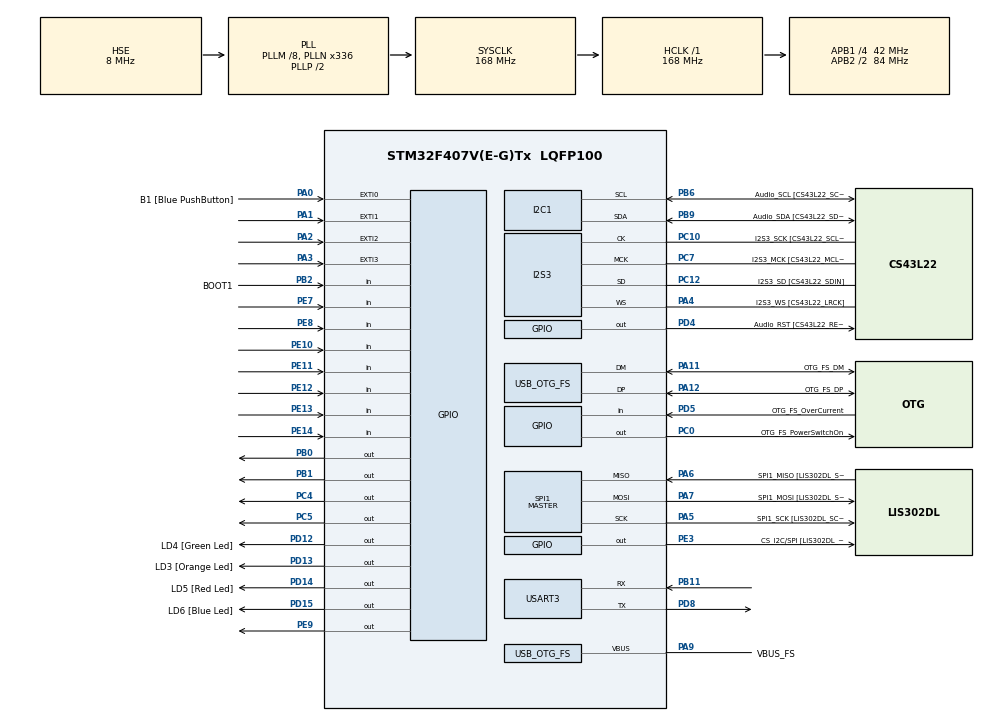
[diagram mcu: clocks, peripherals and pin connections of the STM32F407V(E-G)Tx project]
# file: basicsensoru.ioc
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I2S3.AudioFreq-Half_Duplex_Master=I2S_AUDIOFREQ_96K
I2S3.ErrorAudioFreq=-2.34 %
I2S3.ErrorAudioFreq-Half_Duplex_Master=0.8 %
I2S3.FullDuplexMode=I2S_FULLDUPLEXMODE_DISABLE
I2S3.Instance=SPI$Index
I2S3.RealAudioFreq=93.75 KHz
I2S3.RealAudioFreq-Half_Duplex_Master=96.774 KHz
I2S3.VirtualMode=I2S_MODE_MASTER
Mcu.Family=STM32F4
Mcu.Name=STM32F407V(E-G)Tx
Mcu.Package=LQFP100
NVIC.EXTI1_IRQn=true\:0\:0\:false\:false\:true\:true\:true\:true
NVIC.EXTI2_IRQn=true\:0\:0\:false\:false\:true\:true\:true\:true
NVIC.EXTI3_IRQn=true\:0\:0\:false\:false\:true\:true\:true\:true
NVIC.OTG_FS_IRQn=true\:0\:0\:false\:false\:true\:true\:true\:true
NVIC.PriorityGroup=NVIC_PRIORITYGROUP_0
PA0-WKUP.GPIO_Label=B1 [Blue PushButton]
PA0-WKUP.GPIO_ModeDefaultEXTI=GPIO_MODE_EVT_RISING
PA0-WKUP.GPIO_PuPd=GPIO_NOPULL
PA0-WKUP.Signal=GPXTI0
PA1.Signal=GPXTI1
PA10.GPIO_Label=OTG_FS_ID
PA10.GPIO_Mode=GPIO_MODE_AF_PP
PA10.GPIO_PuPd=GPIO_NOPULL
PA10.GPIO_Speed=GPIO_SPEED_FREQ_LOW
PA10.Signal=USB_OTG_FS_ID
PA11.GPIO_Label=OTG_FS_DM
PA11.GPIO_Mode=GPIO_MODE_AF_PP
PA11.GPIO_PuPd=GPIO_NOPULL
PA11.GPIO_Speed=GPIO_SPEED_FREQ_LOW
PA11.Mode=Host_Only
PA11.Signal=USB_OTG_FS_DM
PA12.GPIO_Label=OTG_FS_DP
PA12.GPIO_Mode=GPIO_MODE_AF_PP
PA12.GPIO_PuPd=GPIO_NOPULL
PA12.GPIO_Speed=GPIO_SPEED_FREQ_LOW
PA12.Mode=Host_Only
PA12.Signal=USB_OTG_FS_DP
PA13.GPIO_Label=SWDIO
PA13.Mode=Serial_Wire
PA13.Signal=SYS_JTMS-SWDIO
PA14.GPIO_Label=SWCLK
PA14.Mode=Serial_Wire
PA14.Signal=SYS_JTCK-SWCLK
PA2.Signal=GPXTI2
PA3.Signal=GPXTI3
PA4.GPIO_Label=I2S3_WS [CS43L22_LRCK]
PA4.GPIO_Mode=GPIO_MODE_AF_PP
PA4.GPIO_PuPd=GPIO_NOPULL
PA4.GPIO_Speed=GPIO_SPEED_FREQ_LOW
PA4.Mode=Half_Duplex_Master
PA4.Signal=I2S3_WS
PA5.GPIO_Label=SPI1_SCK [LIS302DL_SCL/SPC]
PA5.GPIO_Mode=GPIO_MODE_AF_PP
PA5.GPIO_PuPd=GPIO_NOPULL
PA5.GPIO_Speed=GPIO_SPEED_FREQ_LOW
PA5.Mode=Full_Duplex_Master
PA5.Signal=SPI1_SCK
PA6.GPIO_Label=SPI1_MISO [LIS302DL_SDO]
PA6.GPIO_Mode=GPIO_MODE_AF_PP
PA6.GPIO_PuPd=GPIO_NOPULL
PA6.GPIO_Speed=GPIO_SPEED_FREQ_LOW
PA6.Mode=Full_Duplex_Master
PA6.Signal=SPI1_MISO
PA7.GPIO_Label=SPI1_MOSI [LIS302DL_SDA/SDI/SDO]
PA7.GPIO_Mode=GPIO_MODE_AF_PP
PA7.GPIO_PuPd=GPIO_NOPULL
PA7.GPIO_Speed=GPIO_SPEED_FREQ_LOW
PA7.Mode=Full_Duplex_Master
PA7.Signal=SPI1_MOSI
PA9.GPIO_Label=VBUS_FS
PA9.GPIO_Mode=GPIO_MODE_INPUT
PA9.GPIO_PuPd=GPIO_NOPULL
PA9.Mode=Activate_VBUS
PA9.Signal=USB_OTG_FS_VBUS
PB0.Signal=GPIO_Output
PB1.Signal=GPIO_Output
PB10.GPIO_Label=CLK_IN [MP45DT02_CLK]
PB10.GPIO_Mode=GPIO_MODE_AF_PP
PB10.GPIO_PuPd=GPIO_NOPULL
PB10.GPIO_Speed=GPIO_SPEED_FREQ_LOW
PB10.Signal=I2S2_CK
PB11.Mode=Asynchronous
PB11.Signal=USART3_RX
PB2.GPIO_Label=BOOT1
PB2.GPIO_Mode=GPIO_MODE_INPUT
PB2.GPIO_PuPd=GPIO_NOPULL
PB2.Signal=GPIO_Input
PB3.GPIO_Label=SWO
PB3.Signal=SYS_JTDO-SWO
PB6.GPIO_Label=Audio_SCL [CS43L22_SCL]
PB6.GPIO_Mode=GPIO_MODE_AF_OD
PB6.GPIO_Pu=GPIO_PULLUP
PB6.GPIO_PuPd=GPIO_NOPULL
PB6.GPIO_Speed=GPIO_SPEED_FREQ_LOW
PB6.Mode=I2C
PB6.Signal=I2C1_SCL
PB9.GPIO_Label=Audio_SDA [CS43L22_SDA]
PB9.GPIO_Mode=GPIO_MODE_AF_OD
PB9.GPIO_Pu=GPIO_PULLUP
PB9.GPIO_PuPd=GPIO_NOPULL
PB9.GPIO_Speed=GPIO_SPEED_FREQ_LOW
PB9.Mode=I2C
PB9.Signal=I2C1_SDA
PC0.GPIO_Label=OTG_FS_PowerSwitchOn
PC0.GPIO_PuPd=GPIO_NOPULL
PC0.GPIO_Speed=GPIO_SPEED_FREQ_LOW
PC0.PinState=GPIO_PIN_SET
PC0.Signal=GPIO_Output
PC10.GPIO_Label=I2S3_SCK [CS43L22_SCLK]
PC10.GPIO_Mode=GPIO_MODE_AF_PP
PC10.GPIO_PuPd=GPIO_NOPULL
PC10.GPIO_Speed=GPIO_SPEED_FREQ_LOW
PC10.Mode=Half_Duplex_Master
PC10.Signal=I2S3_CK
PC12.GPIO_Label=I2S3_SD [CS43L22_SDIN]
PC12.GPIO_Mode=GPIO_MODE_AF_PP
PC12.GPIO_PuPd=GPIO_NOPULL
PC12.GPIO_Speed=GPIO_SPEED_FREQ_LOW
PC12.Mode=Half_Duplex_Master
PC12.Signal=I2S3_SD
PC14-OSC32_IN.GPIO_Label=PC14-OSC32_IN
PC14-OSC32_IN.Mode=LSE-External-Oscillator
PC14-OSC32_IN.Signal=RCC_OSC32_IN
PC15-OSC32_OUT.GPIO_Label=PC15-OSC32_OUT
PC15-OSC32_OUT.Mode=LSE-External-Oscillator
PC15-OSC32_OUT.Signal=RCC_OSC32_OUT
PC3.GPIO_Label=PDM_OUT [MP45DT02_DOUT]
PC3.GPIO_Mode=GPIO_MODE_AF_PP
PC3.GPIO_PuPd=GPIO_NOPULL
PC3.GPIO_Speed=GPIO_SPEED_FREQ_LOW
PC3.Signal=I2S2_SD
PC4.Signal=GPIO_Output
PC5.Signal=GPIO_Output
PC7.GPIO_Label=I2S3_MCK [CS43L22_MCLK]
PC7.GPIO_Mode=GPIO_MODE_AF_PP
PC7.GPIO_PuPd=GPIO_NOPULL
PC7.GPIO_Speed=GPIO_SPEED_FREQ_LOW
PC7.Mode=Master_Clock_Activated
PC7.Signal=I2S3_MCK
PD12.GPIO_Label=LD4 [Green Led]
PD12.GPIO_PuPd=GPIO_NOPULL
PD12.GPIO_Speed=GPIO_SPEED_FREQ_LOW
PD12.Signal=GPIO_Output
PD13.GPIO_Label=LD3 [Orange Led]
PD13.GPIO_PuPd=GPIO_NOPULL
PD13.GPIO_Speed=GPIO_SPEED_FREQ_LOW
PD13.Signal=GPIO_Output
PD14.GPIO_Label=LD5 [Red Led]
PD14.GPIO_PuPd=GPIO_NOPULL
PD14.GPIO_Speed=GPIO_SPEED_FREQ_LOW
PD14.Signal=GPIO_Output
PD15.GPIO_Label=LD6 [Blue Led]
PD15.GPIO_PuPd=GPIO_NOPULL
PD15.GPIO_Speed=GPIO_SPEED_FREQ_LOW
PD15.Signal=GPIO_Output
PD4.GPIO_Label=Audio_RST [CS43L22_RESET]
PD4.GPIO_PuPd=GPIO_NOPULL
PD4.GPIO_Speed=GPIO_SPEED_FREQ_LOW
PD4.Signal=GPIO_Output
PD5.GPIO_Label=OTG_FS_OverCurrent
PD5.GPIO_Mode=GPIO_MODE_INPUT
PD5.GPIO_PuPd=GPIO_NOPULL
PD5.Signal=GPIO_Input
PD8.Mode=Asynchronous
PD8.Signal=USART3_TX
PE10.Signal=GPIO_Input
PE11.Signal=GPIO_Input
PE12.Signal=GPIO_Input
PE13.Signal=GPIO_Input
PE14.Signal=GPIO_Input
PE3.GPIO_Label=CS_I2C/SPI [LIS302DL_CS_I2C/SPI]
PE3.GPIO_PuPd=GPIO_NOPULL
PE3.GPIO_Speed=GPIO_SPEED_FREQ_LOW
PE3.Signal=GPIO_Output
PE7.Signal=GPIO_Input
PE8.Signal=GPIO_Input
PE9.Signal=GPIO_Output
PH0-OSC_IN.GPIO_Label=PH0-OSC_IN
PH0-OSC_IN.Mode=HSE-External-Oscillator
PH0-OSC_IN.Signal=RCC_OSC_IN
PH1-OSC_OUT.GPIO_Label=PH1-OSC_OUT
PH1-OSC_OUT.Mode=HSE-External-Oscillator
PH1-OSC_OUT.Signal=RCC_OSC_OUT
ProjectManager.HeapSize=0x200
ProjectManager.StackSize=0x400
ProjectManager.TargetToolchain=STM32CubeIDE
RCC.48MHZClocksFreq_Value=48000000
RCC.AHBFreq_Value=168000000
RCC.APB1CLKDivider=RCC_HCLK_DIV4
RCC.APB1Freq_Value=42000000
RCC.APB1TimFreq_Value=84000000
RCC.APB2CLKDivider=RCC_HCLK_DIV2
RCC.APB2Freq_Value=84000000
RCC.APB2TimFreq_Value=168000000
RCC.CortexFreq_Value=168000000
RCC.HCLKFreq_Value=168000000
RCC.HSE_VALUE=8000000
RCC.HSI_VALUE=16000000
RCC.PLLM=8
RCC.PLLN=336
RCC.PLLQ=7
RCC.SYSCLKFreq_VALUE=168000000
RCC.SYSCLKSource=RCC_SYSCLKSOURCE_PLLCLK
RCC.VCOOutputFreq_Value=336000000
SPI1.BaudRatePrescaler-Full_Duplex_Master=SPI_BAUDRATEPRESCALER_2
SPI1.CalculateBaudRate-Full_Duplex_Master=42.0 MBits/s
SPI1.Direction=SPI_DIRECTION_2LINES
SPI1.Mode=SPI_MODE_MASTER
SPI1.Mode-Full_Duplex_Master=SPI_MODE_MASTER
SPI1.VirtualType=VM_MASTER
USART3.VirtualMode=VM_ASYNC
USB_HOST.BSP.number=1
USB_HOST.USBH_HandleTypeDef-CDC_FS=hUsbHostFS
USB_HOST.VirtualModeFS=Cdc
USB_HOST0.BSP.STBoard=false
USB_HOST0.BSP.api=Unknown
USB_HOST0.BSP.i2caddr=0
USB_HOST0.BSP.i2creg=0
USB_HOST0.BSP.instance=PC0
USB_HOST0.BSP.ip=GPIO
USB_HOST0.BSP.mode=Output
USB_HOST0.BSP.name=Drive_VBUS_FS
USB_HOST0.BSP.solution=PC0
USB_OTG_FS.VirtualMode=Host_Only
USB_OTG_FS.phy_itface=HCD_PHY_EMBEDDED
VP_USB_HOST_VS_USB_HOST_CDC_FS.Mode=CDC_FS
board=STM32F407G-DISC1

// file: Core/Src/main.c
/* USER CODE BEGIN Header */
/**
 ******************************************************************************
 * @file           : main.c
 * @brief          : Main program body
 ******************************************************************************
 * @attention
 *
 * Copyright (c) 2022 STMicroelectronics.
 * All rights reserved.
 *
 * This software is licensed under terms that can be found in the LICENSE file
 * in the root directory of this software component.
 * If no LICENSE file comes with this software, it is provided AS-IS.
 *
 ******************************************************************************
 */
/* USER CODE END Header */
#include "main.h"
#include "usb_host.h"

/* USER CODE BEGIN Includes */
#include "sht3x.h"
#include "string.h"
#include "stdio.h"
/* USER CODE END Includes */

 I2C_HandleTypeDef hi2c1;

I2S_HandleTypeDef hi2s3;

SPI_HandleTypeDef hspi1;

UART_HandleTypeDef huart3;

/* USER CODE BEGIN PV */
int sensor = 0;
int a = 0;
int rxbuf[10];
int txbuf[1];
/* USER CODE END PV */

void SystemClock_Config(void);
static void MX_GPIO_Init(void);
static void MX_I2C1_Init(void);
static void MX_I2S3_Init(void);
static void MX_SPI1_Init(void);
static void MX_USART3_UART_Init(void);
void MX_USB_HOST_Process(void);

/* USER CODE BEGIN PFP */

sht3x_handle_t handle = {
		.i2c_handle = &hi2c1,
		.device_address = SHT3X_I2C_DEVICE_ADDRESS_ADDR_PIN_LOW
};

float temperature;
float humidity;
uint8_t temp=0;
uint8_t tempyeni=0;
uint8_t hum=0;
uint8_t ldr=0;
uint8_t yagmur=0;
uint8_t pir=0;
uint8_t touch=0;
uint8_t yeni_temp[1];
uint8_t yeni_hum[1];
char bol[1];
//extern uint8_t receiveddata;
char receiveddata;
/* USER CODE END PFP */

/* USER CODE BEGIN 0 */

/*void HAL_UART_RxCpltCallback(UART_HandleTypeDef *huart) // stm32f4xx_it.c de ki handleların içine yaz callback kullanmana gerek yok.
{
	HAL_GPIO_TogglePin(GPIOD, GPIO_PIN_12);
	HAL_UART_Receive_IT(&huart3, rxbuf, 1);
	//HAL_UART_STATE_READY

}*/

void get_function(float* temperature, float* humidity)
{
	HAL_Delay(1000);
	uint8_t a = temp;
	temp=*temperature;

	bol[0]='*';

	//txbuf[0]=yeni_temp[0];
	//txbuf[1]=bol[0];
	//txbuf[2]=yeni_hum[0];

	if(temp == a)
	{

	}

	else
	{
		txbuf[0]=temp;
		//HAL_UART_Transmit(&huart3, (uint8_t*)txbuf, 1, 3000);
	}

	uint8_t b = hum;
	hum=*humidity;

	if(hum == b)
	{

	}

	else
	{
		yeni_hum[0]=hum;
	}

	//memset(txbuf,'\0',sizeof(txbuf));

	//yeni_temp[1]=(temp-yeni_temp[0])*10;
	//yeni_hum[1]=(hum-yeni_hum[0])*10;

}
/* USER CODE END 0 */

int main(void)
{

  /* MCU Configuration--------------------------------------------------------*/

  /* Reset of all peripherals, Initializes the Flash interface and the Systick. */
  HAL_Init();

  /* Configure the system clock */
  SystemClock_Config();

  /* Initialize all configured peripherals */
  MX_GPIO_Init();
  MX_I2C1_Init();
  MX_I2S3_Init();
  MX_SPI1_Init();
  MX_USB_HOST_Init();
  MX_USART3_UART_Init();
  /* USER CODE BEGIN 2 */
	HAL_UART_Receive_IT(&huart3, (uint8_t*) rxbuf, 1);

  /* USER CODE END 2 */

  /* Infinite loop */
  /* USER CODE BEGIN WHILE */
	while (1)
	{

		if(HAL_I2C_IsDeviceReady(&hi2c1,136,1,100)==HAL_OK){
			sht3x_read_temperature_and_humidity(&handle, &temperature, &humidity);

			sht3x_set_header_enable(&handle, true);
			HAL_Delay(500);
			sht3x_set_header_enable(&handle, false);
			// Read temperature and humidity again.
			sht3x_read_temperature_and_humidity(&handle, &temperature, &humidity);
			get_function(&temperature,&humidity);
		}
		//fan
		if(HAL_GPIO_ReadPin(GPIOE, GPIO_PIN_13)==GPIO_PIN_SET)
		{
			HAL_GPIO_WritePin(GPIOD, GPIO_PIN_12, GPIO_PIN_SET);

		}
		else
		{
			HAL_GPIO_WritePin(GPIOD, GPIO_PIN_12, GPIO_PIN_RESET);

		}

		//HAL_UART_Receive(&huart3, (uint8_t*)rxbuf, 1, 100);

		//lamba
		if(HAL_GPIO_ReadPin(GPIOE, GPIO_PIN_14)==GPIO_PIN_SET)
		{
			HAL_GPIO_WritePin(GPIOE, GPIO_PIN_9, GPIO_PIN_RESET);

		}
		else
		{
			HAL_GPIO_WritePin(GPIOE, GPIO_PIN_9, GPIO_PIN_SET);

		}

		//ldr
		if(HAL_GPIO_ReadPin(GPIOE, GPIO_PIN_8)==GPIO_PIN_SET)
		{
			//HAL_Delay(2000);
			HAL_GPIO_WritePin(GPIOC, GPIO_PIN_4, GPIO_PIN_SET);
		}
		else
		{
			//HAL_Delay(2000);
			HAL_GPIO_WritePin(GPIOC, GPIO_PIN_4, GPIO_PIN_RESET);
		}

		//touch
		if(HAL_GPIO_ReadPin(GPIOE, GPIO_PIN_10)==GPIO_PIN_SET)
		{
			//HAL_Delay(2000);
			//txbuf[0]=5;
			HAL_GPIO_WritePin(GPIOD, GPIO_PIN_13, GPIO_PIN_SET);
			HAL_GPIO_WritePin(GPIOB, GPIO_PIN_1, GPIO_PIN_SET);
		}
		else
		{
			//HAL_Delay(2000);
			HAL_GPIO_WritePin(GPIOD, GPIO_PIN_13, GPIO_PIN_RESET);
			HAL_GPIO_WritePin(GPIOB, GPIO_PIN_1, GPIO_PIN_RESET);
		}

		//pır
		if(HAL_GPIO_ReadPin(GPIOE, GPIO_PIN_11)==GPIO_PIN_SET)
		{
			//HAL_Delay(2000);
			HAL_GPIO_WritePin(GPIOD, GPIO_PIN_14, GPIO_PIN_SET);
			//txbuf[0]=6;
			HAL_GPIO_WritePin(GPIOB, GPIO_PIN_0, GPIO_PIN_SET);
		}
		else
		{
			//HAL_Delay(2000);
			HAL_GPIO_WritePin(GPIOD, GPIO_PIN_14, GPIO_PIN_RESET);
			HAL_GPIO_WritePin(GPIOB, GPIO_PIN_0, GPIO_PIN_RESET);

		}

		//yagmur
		if(HAL_GPIO_ReadPin(GPIOE, GPIO_PIN_12)==GPIO_PIN_RESET)
		{
			//HAL_Delay(2000);
			//txbuf[0]=2;
			HAL_GPIO_WritePin(GPIOD, GPIO_PIN_15, GPIO_PIN_SET);
			HAL_GPIO_WritePin(GPIOC, GPIO_PIN_5, GPIO_PIN_SET);
		}
		else
		{
			//HAL_Delay(2000);
			HAL_GPIO_WritePin(GPIOD, GPIO_PIN_15, GPIO_PIN_RESET);
			HAL_GPIO_WritePin(GPIOC, GPIO_PIN_5, GPIO_PIN_RESET);
		}

		HAL_UART_Transmit(&huart3, (uint8_t*)txbuf, 1, 1000);
		//HAL_UART_Receive(&huart3, (uint8_t*)rxbuf, 10, 1000);

	//	txbuf[0]=0;

		//HAL_Delay(3000);
		//memset(txbuf,'\0',sizeof(txbuf));
		//sprintf(txbuf,"%d%d%d%d%d",tempyeni,ldr,yagmur,touch,pir);
		//HAL_UART_Transmit(&huart3, (uint8_t*)txbuf, strlen(txbuf), 100);

		/*HAL_UART_Transmit(&huart3, yeni_temp, 1, 1);
		HAL_UART_Transmit(&huart3, (uint8_t*)bol, 1, 1);
		HAL_UART_Transmit(&huart3, yeni_hum, 1, 1);*/

    /* USER CODE END WHILE */
    MX_USB_HOST_Process();

  }
}

void SystemClock_Config(void)
{
  RCC_OscInitTypeDef RCC_OscInitStruct = {0};
  RCC_ClkInitTypeDef RCC_ClkInitStruct = {0};

  /** Configure the main internal regulator output voltage
  */
  __HAL_RCC_PWR_CLK_ENABLE();
  __HAL_PWR_VOLTAGESCALING_CONFIG(PWR_REGULATOR_VOLTAGE_SCALE1);

  /** Initializes the RCC Oscillators according to the specified parameters
  * in the RCC_OscInitTypeDef structure.
  */
  RCC_OscInitStruct.OscillatorType = RCC_OSCILLATORTYPE_HSE;
  RCC_OscInitStruct.HSEState = RCC_HSE_ON;
  RCC_OscInitStruct.PLL.PLLState = RCC_PLL_ON;
  RCC_OscInitStruct.PLL.PLLSource = RCC_PLLSOURCE_HSE;
  RCC_OscInitStruct.PLL.PLLM = 8;
  RCC_OscInitStruct.PLL.PLLN = 336;
  RCC_OscInitStruct.PLL.PLLP = RCC_PLLP_DIV2;
  RCC_OscInitStruct.PLL.PLLQ = 7;
  if (HAL_RCC_OscConfig(&RCC_OscInitStruct) != HAL_OK)
  {
    Error_Handler();
  }

  /** Initializes the CPU, AHB and APB buses clocks
  */
  RCC_ClkInitStruct.ClockType = RCC_CLOCKTYPE_HCLK|RCC_CLOCKTYPE_SYSCLK
                              |RCC_CLOCKTYPE_PCLK1|RCC_CLOCKTYPE_PCLK2;
  RCC_ClkInitStruct.SYSCLKSource = RCC_SYSCLKSOURCE_PLLCLK;
  RCC_ClkInitStruct.AHBCLKDivider = RCC_SYSCLK_DIV1;
  RCC_ClkInitStruct.APB1CLKDivider = RCC_HCLK_DIV4;
  RCC_ClkInitStruct.APB2CLKDivider = RCC_HCLK_DIV2;

  if (HAL_RCC_ClockConfig(&RCC_ClkInitStruct, FLASH_LATENCY_5) != HAL_OK)
  {
    Error_Handler();
  }
}

static void MX_I2C1_Init(void)
{

  hi2c1.Instance = I2C1;
  hi2c1.Init.ClockSpeed = 100000;
  hi2c1.Init.DutyCycle = I2C_DUTYCYCLE_2;
  hi2c1.Init.OwnAddress1 = 0;
  hi2c1.Init.AddressingMode = I2C_ADDRESSINGMODE_7BIT;
  hi2c1.Init.DualAddressMode = I2C_DUALADDRESS_DISABLE;
  hi2c1.Init.OwnAddress2 = 0;
  hi2c1.Init.GeneralCallMode = I2C_GENERALCALL_DISABLE;
  hi2c1.Init.NoStretchMode = I2C_NOSTRETCH_DISABLE;
  if (HAL_I2C_Init(&hi2c1) != HAL_OK)
  {
    Error_Handler();
  }

}

static void MX_I2S3_Init(void)
{

  hi2s3.Instance = SPI3;
  hi2s3.Init.Mode = I2S_MODE_MASTER_TX;
  hi2s3.Init.Standard = I2S_STANDARD_PHILIPS;
  hi2s3.Init.DataFormat = I2S_DATAFORMAT_16B;
  hi2s3.Init.MCLKOutput = I2S_MCLKOUTPUT_ENABLE;
  hi2s3.Init.AudioFreq = I2S_AUDIOFREQ_96K;
  hi2s3.Init.CPOL = I2S_CPOL_LOW;
  hi2s3.Init.ClockSource = I2S_CLOCK_PLL;
  hi2s3.Init.FullDuplexMode = I2S_FULLDUPLEXMODE_DISABLE;
  if (HAL_I2S_Init(&hi2s3) != HAL_OK)
  {
    Error_Handler();
  }

}

static void MX_SPI1_Init(void)
{

  /* SPI1 parameter configuration*/
  hspi1.Instance = SPI1;
  hspi1.Init.Mode = SPI_MODE_MASTER;
  hspi1.Init.Direction = SPI_DIRECTION_2LINES;
  hspi1.Init.DataSize = SPI_DATASIZE_8BIT;
  hspi1.Init.CLKPolarity = SPI_POLARITY_LOW;
  hspi1.Init.CLKPhase = SPI_PHASE_1EDGE;
  hspi1.Init.NSS = SPI_NSS_SOFT;
  hspi1.Init.BaudRatePrescaler = SPI_BAUDRATEPRESCALER_2;
  hspi1.Init.FirstBit = SPI_FIRSTBIT_MSB;
  hspi1.Init.TIMode = SPI_TIMODE_DISABLE;
  hspi1.Init.CRCCalculation = SPI_CRCCALCULATION_DISABLE;
  hspi1.Init.CRCPolynomial = 10;
  if (HAL_SPI_Init(&hspi1) != HAL_OK)
  {
    Error_Handler();
  }

}

static void MX_USART3_UART_Init(void)
{

  huart3.Instance = USART3;
  huart3.Init.BaudRate = 115200;
  huart3.Init.WordLength = UART_WORDLENGTH_8B;
  huart3.Init.StopBits = UART_STOPBITS_1;
  huart3.Init.Parity = UART_PARITY_NONE;
  huart3.Init.Mode = UART_MODE_TX_RX;
  huart3.Init.HwFlowCtl = UART_HWCONTROL_NONE;
  huart3.Init.OverSampling = UART_OVERSAMPLING_16;
  if (HAL_UART_Init(&huart3) != HAL_OK)
  {
    Error_Handler();
  }

}

static void MX_GPIO_Init(void)
{
  GPIO_InitTypeDef GPIO_InitStruct = {0};

  /* GPIO Ports Clock Enable */
  __HAL_RCC_GPIOE_CLK_ENABLE();
  __HAL_RCC_GPIOC_CLK_ENABLE();
  __HAL_RCC_GPIOH_CLK_ENABLE();
  __HAL_RCC_GPIOA_CLK_ENABLE();
  __HAL_RCC_GPIOB_CLK_ENABLE();
  __HAL_RCC_GPIOD_CLK_ENABLE();

  /*Configure GPIO pin Output Level */
  HAL_GPIO_WritePin(GPIOE, CS_I2C_SPI_Pin|GPIO_PIN_9, GPIO_PIN_RESET);

  /*Configure GPIO pin Output Level */
  HAL_GPIO_WritePin(OTG_FS_PowerSwitchOn_GPIO_Port, OTG_FS_PowerSwitchOn_Pin, GPIO_PIN_SET);

  /*Configure GPIO pin Output Level */
  HAL_GPIO_WritePin(GPIOC, GPIO_PIN_4|GPIO_PIN_5, GPIO_PIN_RESET);

  /*Configure GPIO pin Output Level */
  HAL_GPIO_WritePin(GPIOB, GPIO_PIN_0|GPIO_PIN_1, GPIO_PIN_RESET);

  /*Configure GPIO pin Output Level */
  HAL_GPIO_WritePin(GPIOD, LD4_Pin|LD3_Pin|LD5_Pin|LD6_Pin
                          |Audio_RST_Pin, GPIO_PIN_RESET);

  /*Configure GPIO pins : CS_I2C_SPI_Pin PE9 */
  GPIO_InitStruct.Pin = CS_I2C_SPI_Pin|GPIO_PIN_9;
  GPIO_InitStruct.Mode = GPIO_MODE_OUTPUT_PP;
  GPIO_InitStruct.Pull = GPIO_NOPULL;
  GPIO_InitStruct.Speed = GPIO_SPEED_FREQ_LOW;
  HAL_GPIO_Init(GPIOE, &GPIO_InitStruct);

  /*Configure GPIO pins : OTG_FS_PowerSwitchOn_Pin PC4 PC5 */
  GPIO_InitStruct.Pin = OTG_FS_PowerSwitchOn_Pin|GPIO_PIN_4|GPIO_PIN_5;
  GPIO_InitStruct.Mode = GPIO_MODE_OUTPUT_PP;
  GPIO_InitStruct.Pull = GPIO_NOPULL;
  GPIO_InitStruct.Speed = GPIO_SPEED_FREQ_LOW;
  HAL_GPIO_Init(GPIOC, &GPIO_InitStruct);

  /*Configure GPIO pin : PDM_OUT_Pin */
  GPIO_InitStruct.Pin = PDM_OUT_Pin;
  GPIO_InitStruct.Mode = GPIO_MODE_AF_PP;
  GPIO_InitStruct.Pull = GPIO_NOPULL;
  GPIO_InitStruct.Speed = GPIO_SPEED_FREQ_LOW;
  GPIO_InitStruct.Alternate = GPIO_AF5_SPI2;
  HAL_GPIO_Init(PDM_OUT_GPIO_Port, &GPIO_InitStruct);

  /*Configure GPIO pin : B1_Pin */
  GPIO_InitStruct.Pin = B1_Pin;
  GPIO_InitStruct.Mode = GPIO_MODE_EVT_RISING;
  GPIO_InitStruct.Pull = GPIO_NOPULL;
  HAL_GPIO_Init(B1_GPIO_Port, &GPIO_InitStruct);

  /*Configure GPIO pins : PA1 PA2 PA3 */
  GPIO_InitStruct.Pin = GPIO_PIN_1|GPIO_PIN_2|GPIO_PIN_3;
  GPIO_InitStruct.Mode = GPIO_MODE_IT_RISING;
  GPIO_InitStruct.Pull = GPIO_NOPULL;
  HAL_GPIO_Init(GPIOA, &GPIO_InitStruct);

  /*Configure GPIO pins : PB0 PB1 */
  GPIO_InitStruct.Pin = GPIO_PIN_0|GPIO_PIN_1;
  GPIO_InitStruct.Mode = GPIO_MODE_OUTPUT_PP;
  GPIO_InitStruct.Pull = GPIO_NOPULL;
  GPIO_InitStruct.Speed = GPIO_SPEED_FREQ_LOW;
  HAL_GPIO_Init(GPIOB, &GPIO_InitStruct);

  /*Configure GPIO pin : BOOT1_Pin */
  GPIO_InitStruct.Pin = BOOT1_Pin;
  GPIO_InitStruct.Mode = GPIO_MODE_INPUT;
  GPIO_InitStruct.Pull = GPIO_NOPULL;
  HAL_GPIO_Init(BOOT1_GPIO_Port, &GPIO_InitStruct);

  /*Configure GPIO pins : PE7 PE8 PE10 PE11
                           PE12 PE13 PE14 */
  GPIO_InitStruct.Pin = GPIO_PIN_7|GPIO_PIN_8|GPIO_PIN_10|GPIO_PIN_11
                          |GPIO_PIN_12|GPIO_PIN_13|GPIO_PIN_14;
  GPIO_InitStruct.Mode = GPIO_MODE_INPUT;
  GPIO_InitStruct.Pull = GPIO_NOPULL;
  HAL_GPIO_Init(GPIOE, &GPIO_InitStruct);

  /*Configure GPIO pin : CLK_IN_Pin */
  GPIO_InitStruct.Pin = CLK_IN_Pin;
  GPIO_InitStruct.Mode = GPIO_MODE_AF_PP;
  GPIO_InitStruct.Pull = GPIO_NOPULL;
  GPIO_InitStruct.Speed = GPIO_SPEED_FREQ_LOW;
  GPIO_InitStruct.Alternate = GPIO_AF5_SPI2;
  HAL_GPIO_Init(CLK_IN_GPIO_Port, &GPIO_InitStruct);

  /*Configure GPIO pins : LD4_Pin LD3_Pin LD5_Pin LD6_Pin
                           Audio_RST_Pin */
  GPIO_InitStruct.Pin = LD4_Pin|LD3_Pin|LD5_Pin|LD6_Pin
                          |Audio_RST_Pin;
  GPIO_InitStruct.Mode = GPIO_MODE_OUTPUT_PP;
  GPIO_InitStruct.Pull = GPIO_NOPULL;
  GPIO_InitStruct.Speed = GPIO_SPEED_FREQ_LOW;
  HAL_GPIO_Init(GPIOD, &GPIO_InitStruct);

  /*Configure GPIO pin : OTG_FS_OverCurrent_Pin */
  GPIO_InitStruct.Pin = OTG_FS_OverCurrent_Pin;
  GPIO_InitStruct.Mode = GPIO_MODE_INPUT;
  GPIO_InitStruct.Pull = GPIO_NOPULL;
  HAL_GPIO_Init(OTG_FS_OverCurrent_GPIO_Port, &GPIO_InitStruct);

  /* EXTI interrupt init*/
  HAL_NVIC_SetPriority(EXTI1_IRQn, 0, 0);
  HAL_NVIC_EnableIRQ(EXTI1_IRQn);

  HAL_NVIC_SetPriority(EXTI2_IRQn, 0, 0);
  HAL_NVIC_EnableIRQ(EXTI2_IRQn);

  HAL_NVIC_SetPriority(EXTI3_IRQn, 0, 0);
  HAL_NVIC_EnableIRQ(EXTI3_IRQn);

}

void Error_Handler(void)
{
	__disable_irq();
	while (1)
	{
	}
}
